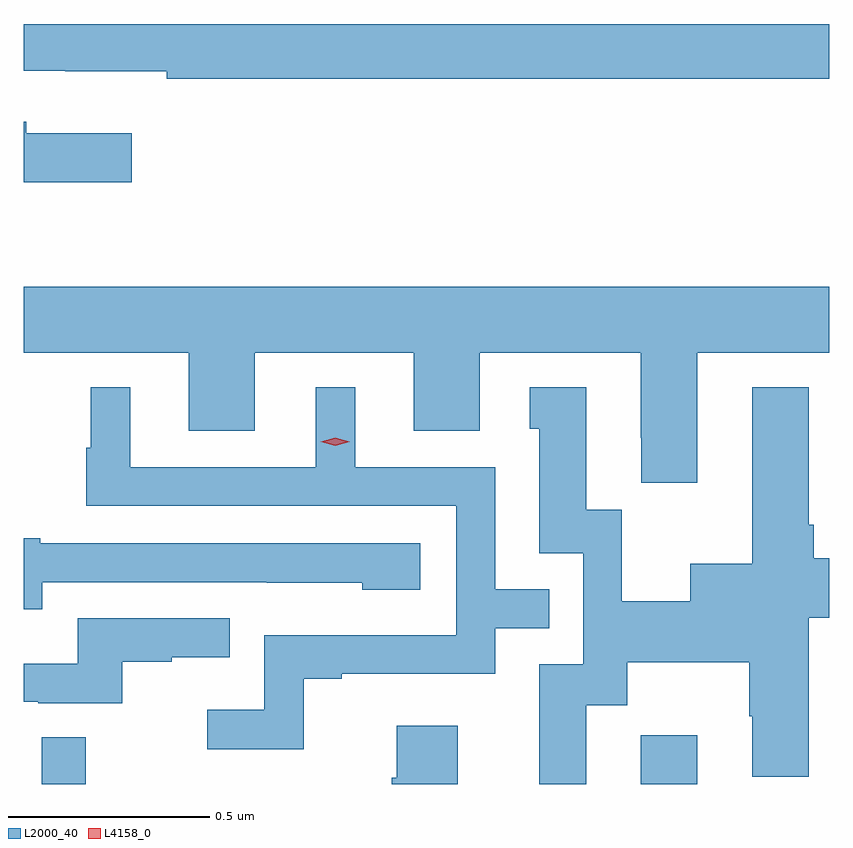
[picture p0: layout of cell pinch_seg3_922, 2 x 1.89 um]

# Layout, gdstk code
import gdstk
lib = gdstk.Library(unit=1e-6, precision=1e-09)
def R(c, l, rs):  # rectangles x0, y0, x1, y1
    for r in rs: c.add(gdstk.rectangle(r[:2], r[2:], *l))
def P(c, l, *ps):  # polygons
    for p in ps: c.add(gdstk.Polygon(p, *l))
L2000_40 = (2000, 40)
L4158_0 = (4158, 0)

pinch_seg3_922 = lib.new_cell('pinch_seg3_922')
R(pinch_seg3_922, L2000_40, [(821.964,686.526,822.073,686.642), (823.451,686.526,823.591,686.647)])
P(pinch_seg3_922, L2000_40, [(823.919,688.412),(821.919,688.412),(821.919,688.296),(822.022,688.296),(822.022,688.295),(822.274,688.295),(822.274,688.276),(823.919,688.276)],
  [(822.187,688.141),(821.926,688.141),(821.926,688.17),(821.919,688.17),(821.919,688.019),(822.187,688.019)],
  [(821.919,687.596),(822.329,687.596),(822.329,687.402),(822.493,687.402),(822.493,687.596),(822.887,687.596),(822.887,687.402),(823.051,687.402),(823.051,687.596),(823.451,687.596),(823.451,687.385),(823.452,687.385),(823.452,687.273),(823.591,687.273),(823.591,687.596),(823.919,687.596),(823.919,687.76),(821.919,687.76)],
  [(823.315,686.722),(823.417,686.722),(823.417,686.828),(823.72,686.828),(823.72,686.694),(823.727,686.694),(823.727,686.544),(823.867,686.544),(823.867,686.939),(823.919,686.939),(823.919,687.086),(823.88,687.086),(823.88,687.169),(823.867,687.169),(823.867,687.511),(823.727,687.511),(823.727,687.073),(823.574,687.073),(823.574,686.98),(823.404,686.98),(823.404,687.207),(823.315,687.207),(823.315,687.511),(823.175,687.511),(823.175,687.408),(823.199,687.408),(823.199,687.099),(823.308,687.099),(823.308,686.823),(823.199,686.823),(823.199,686.526),(823.315,686.526)],
  [(822.615,686.787),(822.709,686.787),(822.709,686.799),(823.089,686.799),(823.089,686.913),(823.223,686.913),(823.223,687.009),(823.089,687.009),(823.089,687.312),(822.742,687.312),(822.742,687.511),(822.644,687.511),(822.644,687.312),(822.184,687.312),(822.184,687.511),(822.086,687.511),(822.086,687.36),(822.075,687.36),(822.075,687.216),(822.993,687.216),(822.993,686.895),(822.516,686.895),(822.516,686.71),(822.375,686.71),(822.375,686.612),(822.615,686.612)],
  [(821.965,687.027),(822.523,687.027),(822.523,687.026),(822.759,687.026),(822.759,687.008),(822.904,687.008),(822.904,687.123),(821.961,687.123),(821.961,687.136),(821.919,687.136),(821.919,686.96),(821.965,686.96)],
  [(822.164,686.829),(822.287,686.829),(822.287,686.84),(822.431,686.84),(822.431,686.937),(822.054,686.937),(822.054,686.825),(821.919,686.825),(821.919,686.73),(821.956,686.73),(821.956,686.727),(822.164,686.727)],
  [(822.997,686.671),(822.845,686.671),(822.845,686.541),(822.833,686.541),(822.833,686.526),(822.997,686.526)])
P(pinch_seg3_922, L4158_0, [(822.693,687.365),(822.657,687.375),(822.657,687.375),(822.657,687.375),(822.693,687.385),(822.728,687.375),(822.729,687.375),(822.728,687.375)])

lib.write_gds('pinch_seg3_922.gds')
